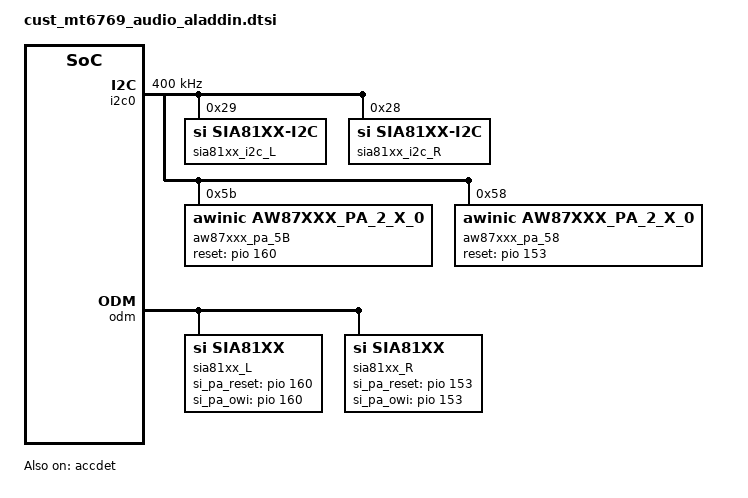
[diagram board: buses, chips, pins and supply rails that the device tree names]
/* Copyright (c) 2018, The Linux Foundation. All rights reserved.
 *
 * This program is free software; you can redistribute it and/or modify
 * it under the terms of the GNU General Public License version 2 and
 * only version 2 as published by the Free Software Foundation.
 *
 * This program is distributed in the hope that it will be useful,
 * but WITHOUT ANY WARRANTY; without even the implied warranty of
 * MERCHANTABILITY or FITNESS FOR A PARTICULAR PURPOSE.  See the
 * GNU General Public License for more details.
 */

/* accdet start */
&accdet {
	/* accdet micbias voltage: 0x07,2.7v;0x05,2.5v;0x02,1.9v */
	accdet-mic-vol = <7>;
	headset-mode-setting = <0x500 0x500 1 0x1f0 0x800 0x800 0x20 0x44>;
	accdet-plugout-debounce = <1>;
	/*1:ACC mode, 2:low cost without in bias, 6:low cost with in bias*/
	accdet-mic-mode = <1>;
	/* eint_level_trigger: 8,LEVEL_LOW(DEF) ;4,LV_HIGH;others,LV_LOW */
	headset-eint-level-pol = <8>;
//#ifdef OPLUS_BUG_COMPATIBILITY
	headset-eint-comparator = <8>;
//#endif
	/*0--MD_MAX--UP_MAX--DW_MAX*/
	headset-three-key-threshold = <0 82 170 306>;
	headset-three-key-threshold-CDD = <0 121 192 600>;
	/*0--MD_MAX--VOICE_MAX--UP_MAX--DW_MAX*/
	headset-four-key-threshold = <0 58 121 192 400>;
	status = "okay";
};
/* accdet end */

&i2c0 {
	#address-cells = <1>;
	#size-cells = <0>;
	clock-frequency = <400000>;
	mediatek,use-open-drain;

	sia81xx_i2c_L: sia81xx_i2c@L {
		compatible = "si,sia81xx-i2c";
		reg = <0x29>;
		si,sipa-dev = <&sia81xx_L>;
	};

	sia81xx_i2c_R: sia81xx_i2c@R {
		compatible = "si,sia81xx-i2c";
		reg = <0x28>;
		si,sipa-dev = <&sia81xx_R>;
	};

	/* AWINIC AW87XXX Smart K PA */
	aw87xxx_pa_5B@5B {
		compatible = "awinic,aw87xxx_pa_2_x_0";
		reg = <0x5B>;
		/*oplus-real-addr = <0x5B>;*/
		reset-gpio = <&pio 160 0>;
		dev_index = < 0 >;
		status = "okay";
	};

	aw87xxx_pa_58@58 {
		compatible = "awinic,aw87xxx_pa_2_x_0";
		reg = <0x58>;
		/*oplus-real-addr = <0x59>;*/
		reset-gpio = <&pio 153 0>;
		dev_index = < 1 >;
		status = "okay";
	};
/* AWINIC AW87XXX Smart K PA End */
};

&mt6358codec {
	mtk_pull_down_stay_enable = <1>;
	/* this dtsi config for product's special config, AudioHal read ctl 'OPLUS_AUDIO_EXTERN_CONFIG' get the values*
	 * 1st value --> PA type: 0:NXP Pa, 1:Awinic Pa 2:sia81xx Pa*/
	audio_extern_config = <0>;
	/* this dtsi config for product's special config,Audio PA compatible*
	 * 1 means PA compatible. 0 means no PA compatible  */
	audio_compatible = <1>;
};
/*
&audio_extend {
	//for sipa speaker
	oplus,speaker-vendor = "sipa";
	oplus,speaker-i2s-id = <3>;
	oplus,speaker-i2s-id-in = <0>;
	oplus,speaker-codec-name = "sipa_i2c.0-0029","sipa_i2c.0-0028";
	oplus,speaker-codec-dai-name = "sia91xx-aif-0-29","sia91xx-aif-0-28";
	oplus,spk-i2s-index = <3 0>;
};
*/
&pio {
	sia81xx_gpio_L: sia81xx_gpio_L {
		pins_cmd_dat {
			pinmux = <PINMUX_GPIO160__FUNC_GPIO160>;
			slew-rate = <1>;
			bias-disable;
		};
	};

	sia81xx_gpio_R: sia81xx_gpio_R {
		pins_cmd_dat {
			pinmux = <PINMUX_GPIO153__FUNC_GPIO153>;
			slew-rate = <1>;
			bias-disable;
		};
	};
};

&odm {
	sia81xx_L: sia81xx@L {
		compatible = "si,sia81xx";
		si,si_pa_type = "sia8159";
		si,si_pa_reset = <&pio 160 0>;
		si,si_pa_owi = <&pio 160 0>;
		pinctrl-names = "sia81xx_gpio";
		pinctrl-0 = <&sia81xx_gpio_L>;
		si,si_pa_disable_pin = <1>;
		/* the same value share a same task
		 * valid value range : 0 ~ 7 */
		timer_task_hdl = <0>;
		en_peak_current_limit = <1>;
                si,is_analog_pa= <1>;
		channel_num = <0>;
		owi_mode = <6>;
		en_x_filter = <0>;
		en_dynamic_updata_vdd = <0>;
		en_dynamic_updata_pvdd = <0>;
		dynamic_updata_vdd_port = <0x2>;
	        sipa_min_range = <5000>;
	        sipa_max_range = <7800>;	
	};
	sia81xx_R: sia81xx@R {
		compatible = "si,sia81xx";
		si,si_pa_type = "sia8159";
		si,si_pa_reset = <&pio 153 0>;
		si,si_pa_owi = <&pio 153 0>;
		pinctrl-names = "sia81xx_gpio";
		pinctrl-0 = <&sia81xx_gpio_R>;
		si,si_pa_disable_pin = <1>;
		/* the same value share a same task
		* valid value range : 0 ~ 7 */
		timer_task_hdl = <0>;
		en_peak_current_limit = <1>;
                si,is_analog_pa = <1>;
		channel_num = <1>;
		owi_mode = <6>;
		en_x_filter = <0>;
		en_dynamic_updata_vdd = <0>;
		en_dynamic_updata_pvdd = <0>;
		dynamic_updata_vdd_port = <0x2>;
		sipa_min_range = <5000>;
	        sipa_max_range = <7800>;
	};
};

&sound {
	si,sia81xx-max-num = <2>;
	si,sia81xx-aux-devs = <&sia81xx_L>, <&sia81xx_R>;
	si,sia81xx-aux-devs-prefix = "SpkrLeft", "SpkrRight";
        si,is_analog_pa= <1>;
};


